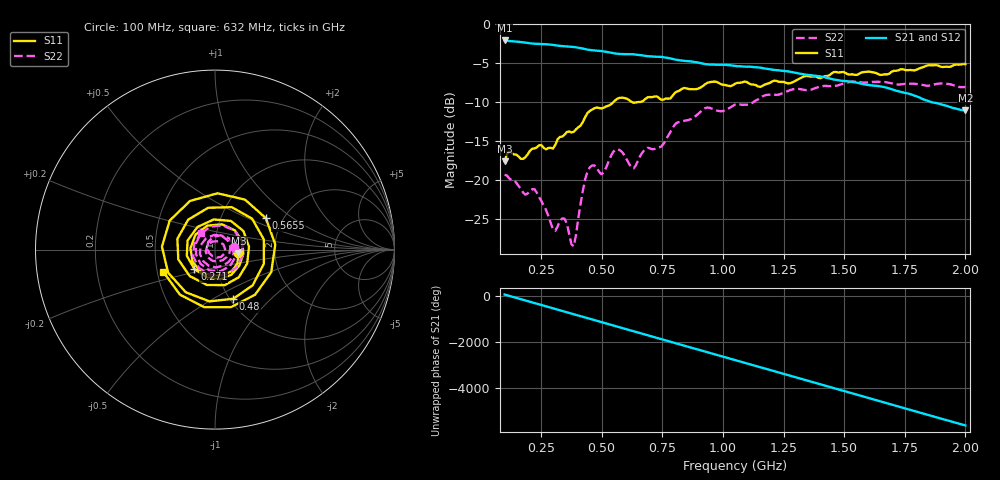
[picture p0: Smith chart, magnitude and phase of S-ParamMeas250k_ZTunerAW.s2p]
!Keysight Technologies,N5242B,MY48420967,A.15.65.19
!Date: Monday, December 19, 2022 15:58:40
!Correction: S11(C  2-Port  )
!S21(C  2-Port  )
!S12(C  2-Port  )
!S22(C  2-Port  )
!S2P File: Measurements: S11, S21, S12, S22:
# Hz S  dB  R 50
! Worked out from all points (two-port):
!   201 points, 100 MHz to 2 GHz, reference 50 ohm
!   highest |S21| = -2.09 dB at 100 MHz (marker M1); lowest = -11.1 dB at 2 GHz (marker M2)
!   |S21| within 3 dB of the highest: start of sweep to 921.9 MHz
!   lowest |S11| = -17.6 dB at 100 MHz (marker M3), VSWR 1.30, Z = 64.9 - j2.69 ohm
!   |S11| at or under -10 dB: start of sweep to 548.6 MHz; 626.4 MHz to 648.1 MHz (21.74 MHz wide, 3.41 % of centre)
!   |S22| runs from -28.5 to -7.4 dB; largest |S21 - S12| = 0.00058
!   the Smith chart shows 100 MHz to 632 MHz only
!   S11 on the Smith chart (normalised r, x): 100 MHz: 1.30, -0.05; 271 MHz: 0.78, -0.17; 480 MHz: 1.04, -0.62; 565.5 MHz: 1.63, +0.64; 632 MHz: 0.54, -0.15
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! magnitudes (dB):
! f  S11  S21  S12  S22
! 100 MHz  -17.6  -2.1  -2.1  -19.3
! 119 MHz  -16.3  -2.2  -2.2  -19.8
! 185.5 MHz  -17.1  -2.4  -2.4  -21.9
! 223.5 MHz  -15.9  -2.5  -2.5  -21.2
! 271 MHz  -16.1  -2.6  -2.6  -23.9
! 309 MHz  -15.5  -2.7  -2.7  -26.5
! 347 MHz  -14.2  -2.8  -2.8  -25.0
! 385 MHz  -13.8  -2.9  -2.9  -28.5
! 423 MHz  -12.5  -3.1  -3.1  -21.3
! 451.5 MHz  -11.1  -3.3  -3.3  -18.4
! 480 MHz  -10.7  -3.4  -3.4  -18.4
! 508.5 MHz  -10.7  -3.5  -3.5  -19.0
! 565.5 MHz  -9.5  -3.8  -3.8  -16.1
! 632 MHz  -10.1  -3.9  -3.9  -18.5
! 679.5 MHz  -9.6  -4.1  -4.1  -16.0
! 736.5 MHz  -9.5  -4.2  -4.2  -15.8
! 812.5 MHz  -8.6  -4.6  -4.6  -12.6
! 926.5 MHz  -7.7  -5.1  -5.1  -10.8
! 1.05 GHz  -7.6  -5.4  -5.4  -10.3
! 1.373 GHz  -6.7  -6.6  -6.6  -8.3
! 1.687 GHz  -6.3  -8.2  -8.3  -7.5
! 2 GHz  -5.1  -11.1  -11.1  -8.1
